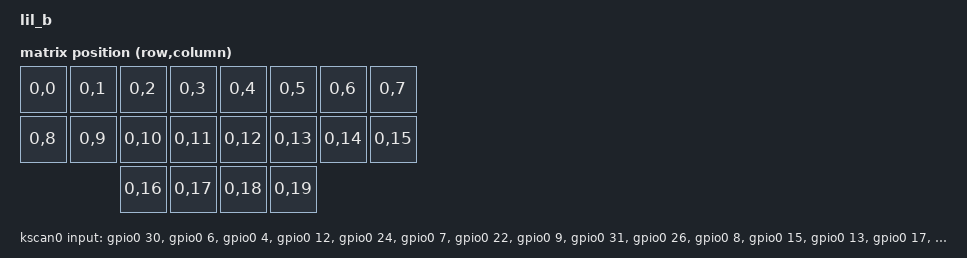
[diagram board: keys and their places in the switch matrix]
/*
 * Copyright (c) 2020 The ZMK Contributors
 *
 * SPDX-License-Identifier: MIT
 */

/dts-v1/;
#include <nordic/nrf52840_qiaa.dtsi>
#include <dt-bindings/zmk/matrix_transform.h>
#include <physical_layouts.dtsi>

/ {
	model = "lil_b";
	compatible = "lil_b";

	chosen {
		zephyr,code-partition = &code_partition;
		zephyr,sram = &sram0;
		zephyr,flash = &flash0;
		zmk,battery = &fuelgauge;
		zmk,kscan = &kscan0;
		//zmk,matrix_transform = &default_transform;
		//zephyr,console = &cdc_acm_uart;
	};

	default_transform: keymap_transform_0 {
		compatible = "zmk,matrix-transform";
		columns = <20>;
		rows = <1>;
		map = <
			RC(0,0) RC(0,1) RC(0,2)  RC(0,3) RC(0,4) RC(0,5) RC(0,6) RC(0,7)
			RC(0,8) RC(0,9) RC(0,10) RC(0,11) RC(0,12) RC(0,13) RC(0,14) RC(0,15)
			RC(0,16) RC(0,17) RC(0,18) RC(0,19)
			>;
	};

	kscan0: kscan {
        compatible = "zmk,kscan-gpio-direct";
        wakeup-source;
        input-gpios
            = <&gpio0 30 (GPIO_ACTIVE_LOW | GPIO_PULL_UP)>
            , <&gpio0 6 (GPIO_ACTIVE_LOW | GPIO_PULL_UP)>
            , <&gpio0 4 (GPIO_ACTIVE_LOW | GPIO_PULL_UP)>
            , <&gpio0 12 (GPIO_ACTIVE_LOW | GPIO_PULL_UP)>
            , <&gpio0 24 (GPIO_ACTIVE_LOW | GPIO_PULL_UP)>
            , <&gpio0 7 (GPIO_ACTIVE_LOW | GPIO_PULL_UP)>
            , <&gpio0 22 (GPIO_ACTIVE_LOW | GPIO_PULL_UP)>
            , <&gpio0 9 (GPIO_ACTIVE_LOW | GPIO_PULL_UP)>
            , <&gpio0 31 (GPIO_ACTIVE_LOW | GPIO_PULL_UP)>
            , <&gpio0 26 (GPIO_ACTIVE_LOW | GPIO_PULL_UP)>
            , <&gpio0 8 (GPIO_ACTIVE_LOW | GPIO_PULL_UP)>
            , <&gpio0 15 (GPIO_ACTIVE_LOW | GPIO_PULL_UP)>
            , <&gpio0 13 (GPIO_ACTIVE_LOW | GPIO_PULL_UP)>
            , <&gpio0 17 (GPIO_ACTIVE_LOW | GPIO_PULL_UP)>
            , <&gpio0 20 (GPIO_ACTIVE_LOW | GPIO_PULL_UP)>
            , <&gpio0 10 (GPIO_ACTIVE_LOW | GPIO_PULL_UP)>
            , <&gpio0 29 (GPIO_ACTIVE_LOW | GPIO_PULL_UP)>
            , <&gpio0 2 (GPIO_ACTIVE_LOW | GPIO_PULL_UP)>
            , <&gpio0 28 (GPIO_ACTIVE_LOW | GPIO_PULL_UP)>
            , <&gpio0 3 (GPIO_ACTIVE_LOW | GPIO_PULL_UP)>
            ;
    };

    layout_0: layout_0 {
        compatible = "zmk,physical-layout";
        display-name = "Default";

        transform = <&default_transform>;

        keys  //                     w   h   x  y     rot    rx    ry
            = <&key_physical_attrs 100 100   0   0       0     0     0>
            , <&key_physical_attrs 100 100 100   0       0     0     0>
            , <&key_physical_attrs 100 100 200   0       0     0     0>
            , <&key_physical_attrs 100 100 300   0       0     0     0>
            , <&key_physical_attrs 100 100 400   0       0     0     0>
            , <&key_physical_attrs 100 100 500   0       0     0     0>
            , <&key_physical_attrs 100 100 600   0       0     0     0>
            , <&key_physical_attrs 100 100 700   0       0     0     0>
            , <&key_physical_attrs 100 100   0 100       0     0     0>
            , <&key_physical_attrs 100 100 100 100       0     0     0>
            , <&key_physical_attrs 100 100 200 100       0     0     0>
            , <&key_physical_attrs 100 100 300 100       0     0     0>
            , <&key_physical_attrs 100 100 400 100       0     0     0>
            , <&key_physical_attrs 100 100 500 100       0     0     0>
            , <&key_physical_attrs 100 100 600 100       0     0     0>
            , <&key_physical_attrs 100 100 700 100       0     0     0>
            , <&key_physical_attrs 100 100 200 200       0     0     0>
            , <&key_physical_attrs 100 100 300 200       0     0     0>
            , <&key_physical_attrs 100 100 400 200       0     0     0>
            , <&key_physical_attrs 100 100 500 200       0     0     0>
            ;
    };
};


&gpio0 {
	status = "okay";
};

&gpio1 {
	status = "okay";
};

zephyr_udc0: &usbd {
    status = "okay";
};

&pinctrl {
       i2c0_default: i2c0_default {
               group1 {
                       psels = <NRF_PSEL(TWIM_SDA, 0, 5)>,
                               <NRF_PSEL(TWIM_SCL, 1, 9)>;
               };
       };

       i2c0_sleep: i2c0_sleep {
               group1 {
                       psels = <NRF_PSEL(TWIM_SDA, 0, 5)>,
                               <NRF_PSEL(TWIM_SCL, 1, 9)>;
                       low-power-enable;
               };
       };
};

&i2c0 {
	status = "okay";
	compatible = "nordic,nrf-twim";
	pinctrl-0 = <&i2c0_default>;
    pinctrl-1 = <&i2c0_sleep>;
    pinctrl-names = "default", "sleep";
	clock-frequency = <100000>;

	fuelgauge: max17048@36 {
		compatible = "zmk,maxim-max17048";
		reg = <0x36>;
	};
};

&flash0 {
	/*
	 * For more information, see:
	 * http://docs.zephyrproject.org/latest/devices/dts/flash_partitions.html
	 */
	partitions {
		compatible = "fixed-partitions";
		#address-cells = <1>;
		#size-cells = <1>;

		sd_partition: partition@0 {
			label = "softdevice";
			reg = <0x00000000 0x00026000>;
		};
		code_partition: partition@26000 {
			label = "code_partition";
			reg = <0x00026000 0x000c6000>;
		};

		/*
		 * The flash starting at 0x000ec000 and ending at
		 * 0x000f3fff is reserved for use by the application.
		 */

		/*
		 * Storage partition will be used by FCB/LittleFS/NVS
		 * if enabled.
		 */
		storage_partition: partition@ec000 {
			label = "storage";
			reg = <0x000ec000 0x00008000>;
		};

		boot_partition: partition@f4000 {
			label = "adafruit_boot";
			reg = <0x000f4000 0x0000c000>;
		};
	};
};
